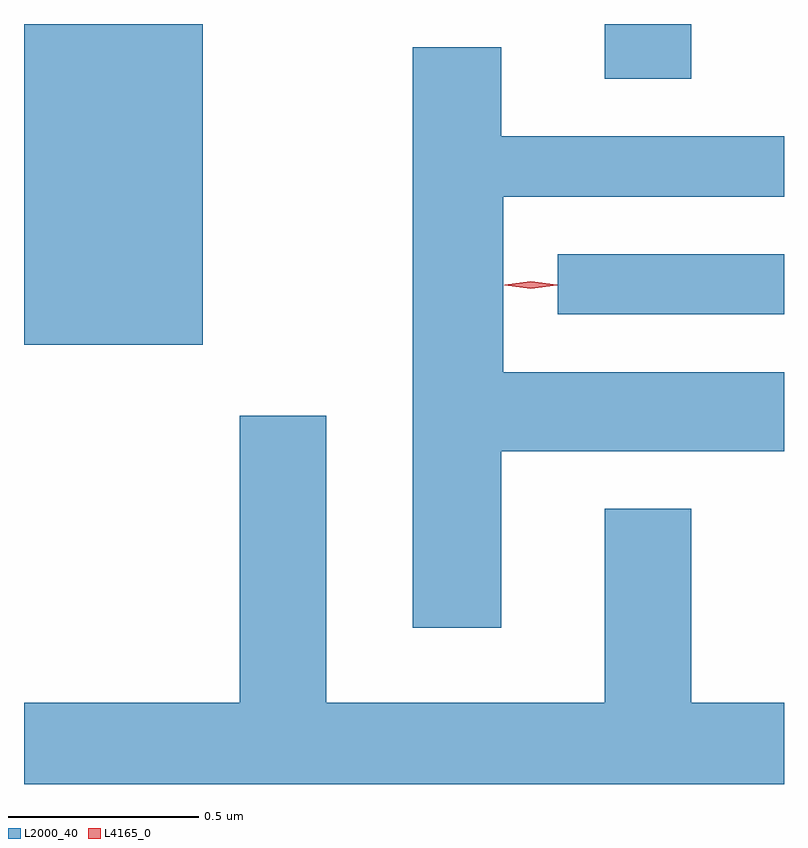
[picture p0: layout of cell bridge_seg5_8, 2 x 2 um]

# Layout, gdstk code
import gdstk
lib = gdstk.Library(unit=1e-6, precision=1e-09)
def R(c, l, rs):  # rectangles x0, y0, x1, y1
    for r in rs: c.add(gdstk.rectangle(r[:2], r[2:], *l))
def P(c, l, *ps):  # polygons
    for p in ps: c.add(gdstk.Polygon(p, *l))
L2000_40 = (2000, 40)
L4165_0 = (4165, 0)

bridge_seg5_8 = lib.new_cell('bridge_seg5_8')
R(bridge_seg5_8, L2000_40, [(1788.253,1400.286,1788.724,1401.13), (1789.658,1400.366,1790.253,1400.524), (1789.781,1400.986,1790.009,1401.13)])
P(bridge_seg5_8, L2000_40, [(1789.509,1400.006),(1790.253,1400.006),(1790.253,1400.214),(1789.514,1400.214),(1789.514,1400.676),(1790.253,1400.676),(1790.253,1400.834),(1789.509,1400.834),(1789.509,1401.069),(1789.276,1401.069),(1789.276,1399.541),(1789.509,1399.541)],
  [(1790.253,1399.344),(1790.009,1399.344),(1790.009,1399.854),(1789.781,1399.854),(1789.781,1399.344),(1789.049,1399.344),(1789.049,1400.099),(1788.821,1400.099),(1788.821,1399.344),(1788.253,1399.344),(1788.253,1399.13),(1790.253,1399.13)])
P(bridge_seg5_8, L4165_0, [(1789.587,1400.433),(1789.518,1400.443),(1789.517,1400.443),(1789.518,1400.444),(1789.587,1400.453),(1789.656,1400.444),(1789.656,1400.443),(1789.656,1400.443)],
  [(1789.587,1400.433),(1789.521,1400.443),(1789.52,1400.443),(1789.521,1400.444),(1789.587,1400.453),(1789.652,1400.444),(1789.653,1400.443),(1789.652,1400.443)])

lib.write_gds('bridge_seg5_8.gds')
